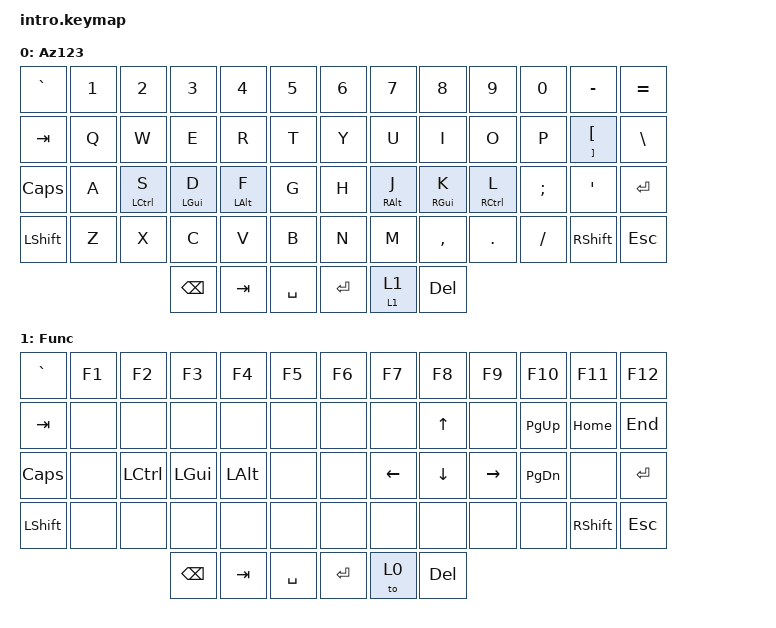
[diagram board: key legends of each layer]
/*
 * Copyright (c) 2020 The ZMK Contributors
 *
 * SPDX-License-Identifier: MIT
 */


#include <behaviors.dtsi>
#include <dt-bindings/zmk/keys.h>

&mt {
   flavor = "tap-preferred";
   quick_tap_ms = <125>;
   tapping_term_ms = <250>;
};

/ {
    behaviors {
        hm: homerow_mods {
            compatible = "zmk,behavior-hold-tap";
            label = "homerow mods";
            #binding-cells = <2>;
            tapping_term_ms = <225>;
            flavor = "tap-preferred";
            bindings = <&kp>, <&kp>;
        };

        tt: to_tap {
            compatible = "zmk,behavior-hold-tap";
            label = "TO_TAP";
            #binding-cells = <2>;
            flavor = "tap-preferred";
            tapping-term-ms = <225>;
            bindings = <&mo>, <&to>;
        };
    };

    keymap {
        compatible = "zmk,keymap";

        default_layer {
            label = "Az123";
            bindings = <
                &kp GRAVE &kp N1    &kp N2     &kp N3     &kp N4     &kp N5           &kp N6    &kp N7     &kp N8     &kp N9     &kp N0    &kp MINUS     &kp EQUAL
                &kp TAB   &kp Q     &kp W      &kp E      &kp R      &kp T            &kp Y     &kp U      &kp I      &kp O      &kp P     &mt RBKT LBKT &kp BSLH
                &kp CAPS  &kp A     &hm LCTL S &hm LGUI D &hm LALT F &kp G            &kp H     &hm RALT J &hm RGUI K &hm RCTL L &kp SEMI  &kp SQT       &kp ENTER
                &kp LSHFT &kp Z     &kp X      &kp C      &kp V      &kp B            &kp N     &kp M      &kp COMMA  &kp DOT    &kp FSLH  &kp RSHFT     &kp ESC
                                               &kp BKSP   &kp TAB    &kp SPACE        &kp ENTER &tt 1 1    &kp DEL
            >;
        };

        function_layer {
            label = "Func";
            bindings = <
                &kp GRAVE &kp F1    &kp F2     &kp F3     &kp F4     &kp F5           &kp F6    &kp F7     &kp F8     &kp F9     &kp F10   &kp F11   &kp F12
                &kp TAB   &none     &none      &none      &none      &none            &none     &none      &kp UP     &none      &kp PG_UP &kp HOME  &kp END
                &kp CAPS  &none     &kp LCTL   &kp LGUI   &kp LALT   &none            &none     &kp LEFT   &kp DOWN   &kp RIGHT  &kp PG_DN &none     &kp ENTER
                &kp LSHFT &none     &none      &none      &none      &none            &none     &none      &none      &none      &none     &kp RSHFT &kp ESC
                                               &kp BKSP   &kp TAB    &kp SPACE        &kp ENTER &to 0      &kp DEL
            >;
        };
    };
};
